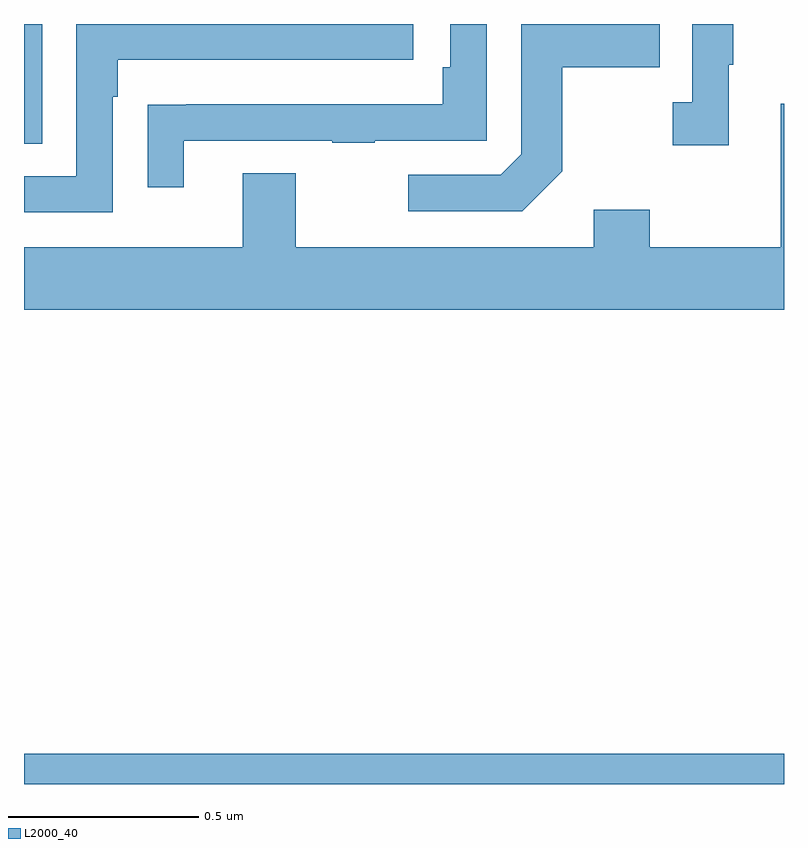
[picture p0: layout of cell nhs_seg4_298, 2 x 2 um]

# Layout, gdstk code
import gdstk
lib = gdstk.Library(unit=1e-6, precision=1e-09)
def R(c, l, rs):  # rectangles x0, y0, x1, y1
    for r in rs: c.add(gdstk.rectangle(r[:2], r[2:], *l))
def P(c, l, *ps):  # polygons
    for p in ps: c.add(gdstk.Polygon(p, *l))
L2000_40 = (2000, 40)

nhs_seg4_298 = lib.new_cell('nhs_seg4_298')
R(nhs_seg4_298, L2000_40, [(114,800.9,116,800.98), (114,802.585,114.048,802.9)])
P(nhs_seg4_298, L2000_40, [(114.421,802.593),(114.811,802.593),(114.811,802.588),(114.923,802.588),(114.923,802.593),(115.218,802.593),(115.218,802.9),(115.122,802.9),(115.122,802.786),(115.102,802.786),(115.102,802.689),(114.427,802.689),(114.427,802.688),(114.325,802.688),(114.325,802.47),(114.421,802.47)],
  [(114.234,802.709),(114.247,802.709),(114.247,802.806),(115.024,802.806),(115.024,802.9),(114.138,802.9),(114.138,802.5),(114,802.5),(114,802.404),(114.234,802.404)],
  [(115.855,802.793),(115.867,802.793),(115.867,802.9),(115.758,802.9),(115.758,802.694),(115.707,802.694),(115.707,802.581),(115.855,802.581)],
  [(115.417,802.513),(115.417,802.786),(115.673,802.786),(115.673,802.9),(115.308,802.9),(115.308,802.557),(115.254,802.503),(115.011,802.503),(115.011,802.407),(115.311,802.407)],
  [(116,802.69),(115.991,802.69),(115.991,802.312),(115.647,802.312),(115.647,802.411),(115.499,802.411),(115.499,802.312),(114.715,802.312),(114.715,802.507),(114.575,802.507),(114.575,802.312),(114,802.312),(114,802.148),(116,802.148)])

lib.write_gds('nhs_seg4_298.gds')
